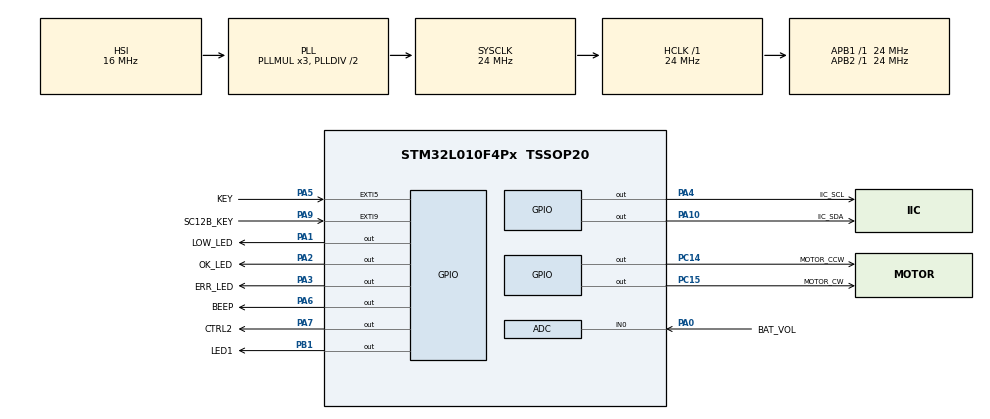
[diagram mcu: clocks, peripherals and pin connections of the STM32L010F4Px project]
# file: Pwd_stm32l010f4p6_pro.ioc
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IWDG.Prescaler=IWDG_PRESCALER_64
Mcu.Family=STM32L0
Mcu.Name=STM32L010F4Px
Mcu.Package=TSSOP20
NVIC.EXTI4_15_IRQn=true\:0\:0\:false\:false\:true\:true\:true\:true
NVIC.TIM2_IRQn=true\:0\:0\:false\:false\:true\:true\:true\:true
PA0-CK_IN.GPIO_Label=BAT_VOL
PA0-CK_IN.Signal=SharedAnalog_PA0
PA1.GPIO_Label=LOW_LED
PA1.GPIO_Speed=GPIO_SPEED_FREQ_HIGH
PA1.Signal=GPIO_Output
PA10.GPIO_Label=IIC_SDA
PA10.Signal=GPIO_Output
PA13.Mode=Serial_Wire
PA13.Signal=SYS_SWDIO
PA14.Mode=Serial_Wire
PA14.Signal=SYS_SWCLK
PA2.GPIO_Label=OK_LED
PA2.GPIO_Speed=GPIO_SPEED_FREQ_HIGH
PA2.Signal=GPIO_Output
PA3.GPIO_Label=ERR_LED
PA3.GPIO_Speed=GPIO_SPEED_FREQ_HIGH
PA3.Signal=GPIO_Output
PA4.GPIO_Label=IIC_SCL
PA4.Signal=GPIO_Output
PA5.GPIO_Label=KEY
PA5.Signal=GPXTI5
PA6.GPIO_Label=BEEP
PA6.Signal=GPIO_Output
PA7.GPIO_Label=CTRL2
PA7.GPIO_Speed=GPIO_SPEED_FREQ_HIGH
PA7.Signal=GPIO_Output
PA9.GPIO_Label=SC12B_KEY
PA9.Signal=GPXTI9
PB1.GPIO_Label=LED1
PB1.GPIO_Speed=GPIO_SPEED_FREQ_HIGH
PB1.Signal=GPIO_Output
PC14-OSC32_IN.GPIO_Label=MOTOR_CCW
PC14-OSC32_IN.Signal=GPIO_Output
PC15-OSC32_OUT.GPIO_Label=MOTOR_CW
PC15-OSC32_OUT.Signal=GPIO_Output
ProjectManager.HeapSize=0x200
ProjectManager.StackSize=0x400
ProjectManager.TargetToolchain=MDK-ARM V5.32
RCC.ADCFreq_Value=16000000
RCC.AHBFreq_Value=24000000
RCC.APB1Freq_Value=24000000
RCC.APB1TimFreq_Value=24000000
RCC.APB2Freq_Value=24000000
RCC.APB2TimFreq_Value=24000000
RCC.HCLKFreq_Value=24000000
RCC.HSE_VALUE=8000000
RCC.HSI16_VALUE=16000000
RCC.HSI_VALUE=16000000
RCC.LSE_VALUE=32768
RCC.MSI_VALUE=2097000
RCC.SYSCLKFreq_VALUE=24000000
RCC.SYSCLKSource=RCC_SYSCLKSOURCE_PLLCLK
RCC.VCOOutputFreq_Value=48000000
SH.SharedAnalog_PA0.0=GPIO_Analog
SH.SharedAnalog_PA0.1=ADC_IN0,IN0
VP_IWDG_VS_IWDG.Mode=IWDG_Activate
VP_TIM2_VS_ClockSourceINT.Mode=Internal
board=custom

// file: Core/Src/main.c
/* USER CODE BEGIN Header */
/**
  ******************************************************************************
  * @file           : main.c
  * @brief          : Main program body
  ******************************************************************************
  * @attention
  *
  * Copyright (c) 2022 STMicroelectronics.
  * All rights reserved.
  *
  * This software is licensed under terms that can be found in the LICENSE file
  * in the root directory of this software component.
  * If no LICENSE file comes with this software, it is provided AS-IS.
  * Data:2022-10-31 _version:v211
  *
  ******************************************************************************
  */
/* USER CODE END Header */
#include "main.h"
#include "adc.h"
#include "iwdg.h"
#include "tim.h"
#include "gpio.h"

/* USER CODE BEGIN Includes */
#include "run.h"
#include "led.h"
#include "touchkey.h"
#include "motor.h"
#include "buzzer.h"
#include "key.h"
#include "single_mode.h"
#include "delay.h"
#include "funpointer.h"
#include "interrupt_manager.h"
/* USER CODE END Includes */

void SystemClock_Config(void);

/* USER CODE BEGIN 0 */
 uint16_t sidekey;
/* USER CODE END 0 */

int main(void)
{
  /* USER CODE BEGIN 1 */
  //  uint16_t KeyValue;

  /* USER CODE END 1 */

  /* MCU Configuration--------------------------------------------------------*/

  /* Reset of all peripherals, Initializes the Flash interface and the Systick. */
  HAL_Init();

  /* Configure the system clock */
  SystemClock_Config();

  /* USER CODE BEGIN SysInit */
     delay_init(24);
    //MX_IWDG_Init(); //WT.EDIT
  /* USER CODE END SysInit */

  /* Initialize all configured peripherals */
  MX_GPIO_Init();
  MX_ADC_Init();
 // MX_IWDG_Init();
 ICman_Init_SET(SC12B_ADDR);
  MX_TIM2_Init();
  /* USER CODE BEGIN 2 */
  HAL_TIM_Base_Start_IT(&htim2);//

 // HAL_TIM_Base_Start(&htim2);
  /* USER CODE END 2 */
  TouchKey_Run_Handler(TouchKey);

 /* Infinite loop */
  while (1)
  {

    /* USER CODE BEGIN 3 */

      Start_PowerOn_Handler();
	  if(run_t.panel_lock==0 && run_t.factory_test ==0){
             sidekey = Scan_Key();
             SideKey_Fun(sidekey);

	   	}
       CheckPassword_Lock_Handler();
	   RunMotor_Definite_Handler(); //definite motor
       BackLight_Control_Handler();

    }
  /* USER CODE END 3 */
}

void SystemClock_Config(void)
{
  RCC_OscInitTypeDef RCC_OscInitStruct = {0};
  RCC_ClkInitTypeDef RCC_ClkInitStruct = {0};

  /** Configure the main internal regulator output voltage
  */
  __HAL_PWR_VOLTAGESCALING_CONFIG(PWR_REGULATOR_VOLTAGE_SCALE1);

  /** Initializes the RCC Oscillators according to the specified parameters
  * in the RCC_OscInitTypeDef structure.
  */
  RCC_OscInitStruct.OscillatorType = RCC_OSCILLATORTYPE_HSI|RCC_OSCILLATORTYPE_LSI;
  RCC_OscInitStruct.HSIState = RCC_HSI_ON;
  RCC_OscInitStruct.HSICalibrationValue = RCC_HSICALIBRATION_DEFAULT;
  RCC_OscInitStruct.LSIState = RCC_LSI_ON;
  RCC_OscInitStruct.PLL.PLLState = RCC_PLL_ON;
  RCC_OscInitStruct.PLL.PLLSource = RCC_PLLSOURCE_HSI;
  RCC_OscInitStruct.PLL.PLLMUL = RCC_PLLMUL_3;
  RCC_OscInitStruct.PLL.PLLDIV = RCC_PLLDIV_2;
  if (HAL_RCC_OscConfig(&RCC_OscInitStruct) != HAL_OK)
  {
    Error_Handler();
  }

  /** Initializes the CPU, AHB and APB buses clocks
  */
  RCC_ClkInitStruct.ClockType = RCC_CLOCKTYPE_HCLK|RCC_CLOCKTYPE_SYSCLK
                              |RCC_CLOCKTYPE_PCLK1|RCC_CLOCKTYPE_PCLK2;
  RCC_ClkInitStruct.SYSCLKSource = RCC_SYSCLKSOURCE_PLLCLK;
  RCC_ClkInitStruct.AHBCLKDivider = RCC_SYSCLK_DIV1;
  RCC_ClkInitStruct.APB1CLKDivider = RCC_HCLK_DIV1;
  RCC_ClkInitStruct.APB2CLKDivider = RCC_HCLK_DIV1;

  if (HAL_RCC_ClockConfig(&RCC_ClkInitStruct, FLASH_LATENCY_1) != HAL_OK)
  {
    Error_Handler();
  }
}

void Error_Handler(void)
{
  __disable_irq();
  while (1)
  {
  }
}
